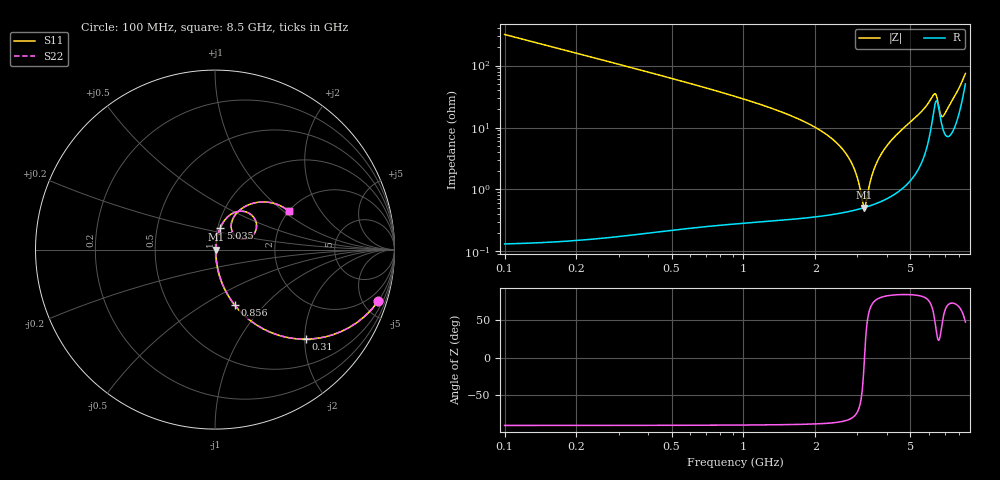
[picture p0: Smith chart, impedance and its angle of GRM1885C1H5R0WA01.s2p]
!Murata Part Number: GRM1885C1H5R0WA01
!These Parameters are Measured in Series Mode Connection
!Data Generated on Mar 30, 2021
!  o--ll--o
!Port1  Port2
!  o------o
!Operation Temp=25[degC], DC Bias Voltage=0[V]
!Freq. Start=100[MHz] Stop=9[GHz] 401[Steps]
# Hz S RI R 50
!Freq.(Hz) S11(Real) S11(Imag) S21(Real) S21(Imag) S12(Real) S12(Imag) S22(Real) S22(Imag)
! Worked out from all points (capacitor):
!   401 points, 100 MHz to 8.5 GHz, reference 50 ohm
!   read as one part in series: C = 5 pF near 142 MHz
!   lowest |Z| = 511 mohm at 3.208 GHz (marker M1)
!   series resonance near 3.213 GHz, so ESL is about 490 pH
!   S11 on the Smith chart (normalised r, x): 100 MHz: 1.00, -6.36; 310 MHz: 1.00, -2.03; 856 MHz: 1.01, -0.69; 5.035 GHz: 1.03, +0.25; 8.5 GHz: 2.01, +1.09
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1e8  0.9099 -0.2861  0.0901 0.2861  0.0901 0.2861  0.9099 -0.2861
2.05e8  0.7049 -0.4556  0.2951 0.4556  0.2951 0.4556  0.7049 -0.4556
3.1e8  0.5085 -0.4991  0.4915 0.4991  0.4915 0.4991  0.5085 -0.4991
5.41e8  0.2475 -0.4296  0.7525 0.4296  0.7525 0.4296  0.2475 -0.4296
8.56e8  0.1092 -0.308  0.8908 0.308  0.8908 0.308  0.1092 -0.308
1.507e9  0.0302 -0.1617  0.9698 0.1617  0.9698 0.1617  0.0302 -0.1617
2.431e9  0.00738 -0.058  0.9926 0.058  0.9926 0.058  0.00738 -0.058
2.914e9  0.00502 -0.0206  0.995 0.0206  0.995 0.0206  0.00502 -0.0206
3.208e9  0.00507 -0.000326  0.9949 0.000326  0.9949 0.000326  0.00507 -0.000326
3.25e9  0.00515 0.00247  0.9948 -0.00247  0.9948 -0.00247  0.00515 0.00247
3.439e9  0.00575 0.0148  0.9943 -0.0148  0.9943 -0.0148  0.00575 0.0148
3.607e9  0.00657 0.0256  0.9934 -0.0256  0.9934 -0.0256  0.00657 0.0256
3.901e9  0.00871 0.0441  0.9913 -0.0441  0.9913 -0.0441  0.00871 0.0441
4.3e9  0.0132 0.0692  0.9868 -0.0692  0.9868 -0.0692  0.0132 0.0692
5.035e9  0.0288 0.1197  0.9712 -0.1197  0.9712 -0.1197  0.0288 0.1197
5.707e9  0.0675 0.1793  0.9325 -0.1793  0.9325 -0.1793  0.0675 0.1793
6.295e9  0.213 0.1831  0.787 -0.1831  0.787 -0.1831  0.213 0.1831
6.526e9  0.1962 0.0685  0.8038 -0.0685  0.8038 -0.0685  0.1962 0.0685
6.736e9  0.1151 0.0742  0.8849 -0.0742  0.8849 -0.0742  0.1151 0.0742
7.114e9  0.0928 0.1528  0.9072 -0.1528  0.9072 -0.1528  0.0928 0.1528
7.996e9  0.2342 0.263  0.7658 -0.263  0.7658 -0.263  0.2342 0.263
8.5e9  0.4135 0.2127  0.5865 -0.2127  0.5865 -0.2127  0.4135 0.2127
